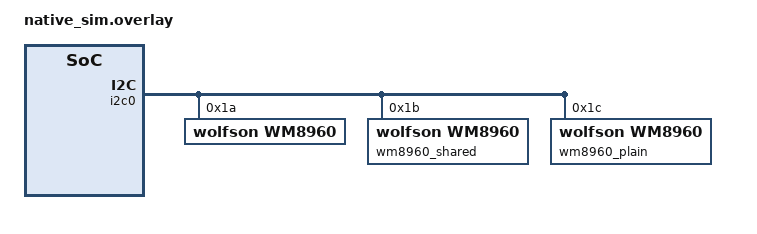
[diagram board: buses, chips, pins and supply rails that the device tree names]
/*
 * Copyright 2026 NXP
 *
 * SPDX-License-Identifier: Apache-2.0
 */

/ {
	#address-cells = <1>;
	#size-cells = <0>;

	aliases {
		wm8960 = &wm8960;
	};

	dummy_clock: dummy_clock {
		compatible = "fixed-clock";
		clock-frequency = <12288000>;
		#clock-cells = <0>;
	};
};

&i2c0 {
	status = "okay";
	#address-cells = <1>;
	#size-cells = <0>;

	wm8960: wm8960@1a {
		compatible = "wolfson,wm8960";
		reg = <0x1a>;
		clocks = <&dummy_clock>;
		status = "okay";
		hp-jd = "WM8960_JD3";
		clk-out;
		gpio1-sel = "WM8960_SYSCLK_OUT";
		left-input = "WM8960_IN_MIC_DE_13";
		right-input = "WM8960_IN_MIC_DE_12";
	};

	/* Shares one frame clock: the ADC must follow DACLRC. */
	wm8960_shared: wm8960@1b {
		compatible = "wolfson,wm8960";
		reg = <0x1b>;
		clocks = <&dummy_clock>;
		status = "okay";
		shared-lrclk;
	};

	/* Separate frame clocks: ALRCGPIO must stay clear. */
	wm8960_plain: wm8960@1c {
		compatible = "wolfson,wm8960";
		reg = <0x1c>;
		clocks = <&dummy_clock>;
		status = "okay";
	};
};
